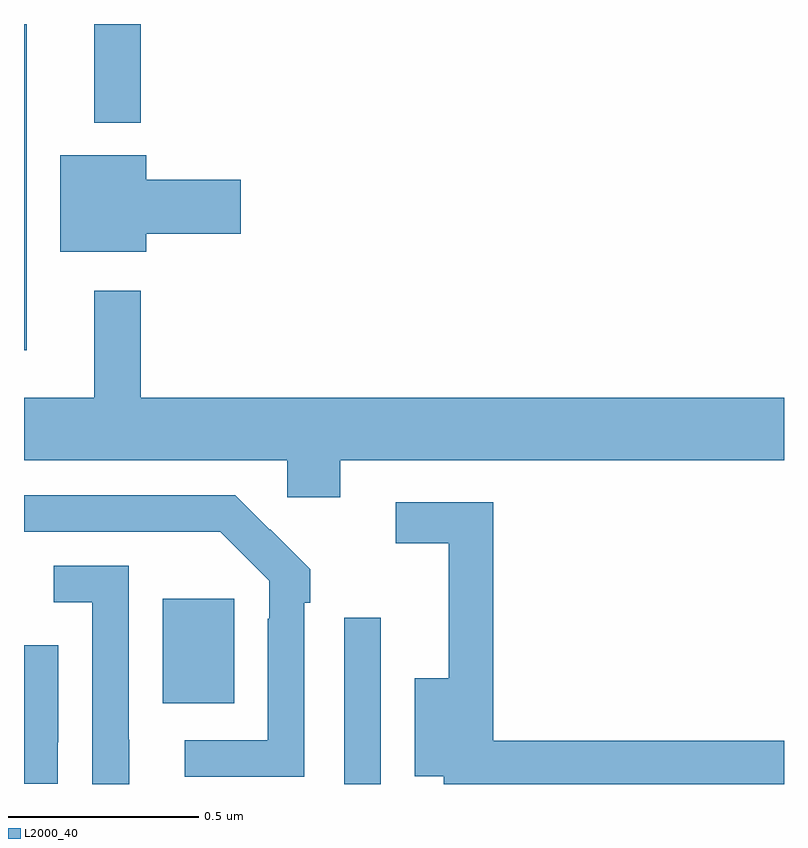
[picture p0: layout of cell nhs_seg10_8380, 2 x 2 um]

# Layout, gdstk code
import gdstk
lib = gdstk.Library(unit=1e-6, precision=1e-09)
def R(c, l, rs):  # rectangles x0, y0, x1, y1
    for r in rs: c.add(gdstk.rectangle(r[:2], r[2:], *l))
def P(c, l, *ps):  # polygons
    for p in ps: c.add(gdstk.Polygon(p, *l))
L2000_40 = (2000, 40)

nhs_seg10_8380 = lib.new_cell('nhs_seg10_8380')
R(nhs_seg10_8380, L2000_40, [(216.843,1263.5,216.939,1263.937), (216.365,1263.713,216.553,1263.988), (216,1264.641,216.007,1265.5), (216.185,1265.24,216.307,1265.5)])
P(nhs_seg10_8380, L2000_40, [(216.322,1264.948),(216.571,1264.948),(216.571,1265.09),(216.322,1265.09),(216.322,1265.155),(216.095,1265.155),(216.095,1264.901),(216.322,1264.901)],
  [(216.832,1264.352),(218,1264.352),(218,1264.516),(216.307,1264.516),(216.307,1264.798),(216.185,1264.798),(216.185,1264.516),(216,1264.516),(216,1264.352),(216.693,1264.352),(216.693,1264.254),(216.832,1264.254)],
  [(216.738,1263.977),(216.753,1263.977),(216.753,1264.065),(216.648,1264.17),(216.647,1264.169),(216.556,1264.26),(216,1264.26),(216,1264.164),(216.517,1264.164),(216.645,1264.035),(216.645,1263.935),(216.642,1263.935),(216.642,1263.615),(216.423,1263.615),(216.423,1263.519),(216.738,1263.519)],
  [(218,1263.614),(217.235,1263.614),(217.235,1264.242),(216.978,1264.242),(216.978,1264.134),(217.118,1264.134),(217.118,1263.778),(217.028,1263.778),(217.028,1263.521),(217.104,1263.521),(217.104,1263.5),(218,1263.5)],
  [(216.277,1263.617),(216.276,1263.617),(216.276,1264.074),(216.078,1264.074),(216.078,1263.978),(216.18,1263.978),(216.18,1263.5),(216.277,1263.5)],
  [(216.089,1263.61),(216.09,1263.61),(216.09,1263.865),(216,1263.865),(216,1263.501),(216.089,1263.501)])

lib.write_gds('nhs_seg10_8380.gds')
